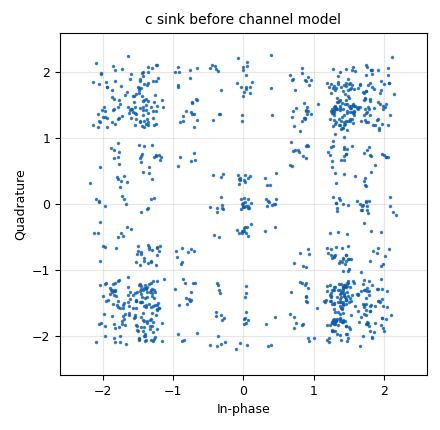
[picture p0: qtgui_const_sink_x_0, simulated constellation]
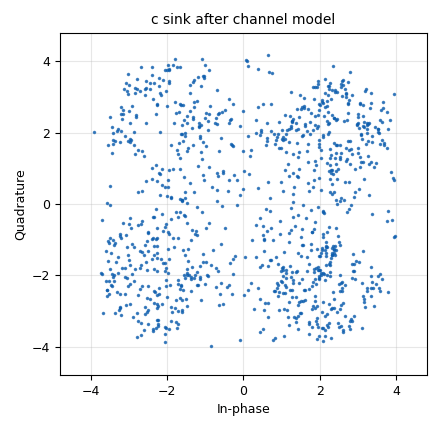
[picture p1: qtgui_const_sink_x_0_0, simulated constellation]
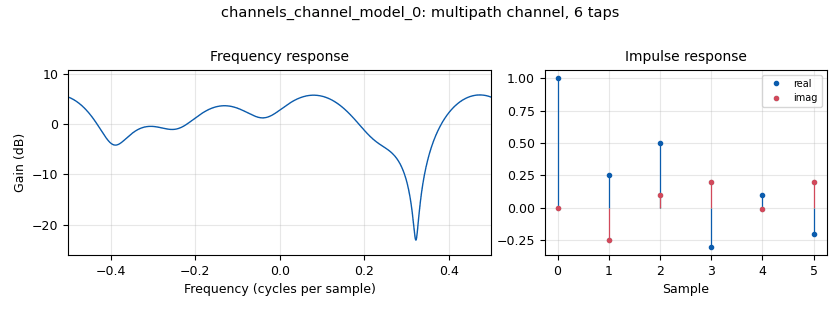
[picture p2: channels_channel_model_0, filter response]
options:
  parameters:
    author: mzemlo.pl@gmail.com
    copyright: mzemlo.pl@gmail.com
    generate_options: qt_gui
    id: qpsk_w_mod_01
    output_language: python
    title: QPSK with modulation 01
  states: {}

blocks:
- name: datarate
  id: variable
  parameters:
    value: '16000'
  states: {}
- name: freq_offset
  id: variable_qtgui_range
  parameters:
    gui_hint: 2,1,1,1
    label: '"freq offset"'
    start: '-0.1'
    step: '0.001'
    stop: '0.1'
    value: '0'
  states: {}
- name: noise_volt
  id: variable_qtgui_range
  parameters:
    gui_hint: 2,0,1,1
    label: '"noise volt"'
    start: '0'
    step: '0.01'
    stop: '1'
    value: '0.0001'
  states: {}
- name: samp_rate
  id: variable
  parameters:
    value: '32000'
  states: {}
- name: taps
  id: variable
  parameters:
    value: '[ 1.0 , 0.25 - 0.25j , 0.50 + 0.10j,-0.3 + 0.2j , 0.1-0.01j , -0.2 + 0.2j ]'
  states: {}
- name: time_offset
  id: variable_qtgui_range
  parameters:
    gui_hint: 3,1,1,1
    label: '"time offset"'
    start: '0.999'
    step: '0.0001'
    stop: '1.001'
    value: '1'
  states: {}
- name: var_const_0
  id: variable_constellation
  parameters:
    precision: '8'
    type: qpsk
  states: {}
- name: analog_random_source_x_0
  id: analog_random_source_x
  parameters:
    alias: '"rand src"'
    max: '256'
    min: '0'
    num_samps: '1000'
    repeat: 'True'
    type: byte
  states: {}
- name: blocks_throttle2_1
  id: blocks_throttle2
  parameters:
    samples_per_second: samp_rate
    type: complex
  states: {}
- name: channels_channel_model_0
  id: channels_channel_model
  parameters:
    epsilon: time_offset
    freq_offset: freq_offset
    noise_voltage: noise_volt
    seed: '0'
    taps: taps
  states: {}
- name: digital_constellation_modulator_0
  id: digital_constellation_modulator
  parameters:
    constellation: var_const_0
    differential: 'False'
    excess_bw: '0.35'
    samples_per_symbol: '4'
  states: {}
- name: qtgui_const_sink_x_0
  id: qtgui_const_sink_x
  parameters:
    autoscale: 'True'
    name: '"c sink before channel model"'
    size: '1024'
    type: complex
  states: {}
- name: qtgui_const_sink_x_0_0
  id: qtgui_const_sink_x
  parameters:
    autoscale: 'True'
    name: '"c sink after channel model"'
    size: '1024'
    type: complex
  states: {}

connections:
- [analog_random_source_x_0, '0', digital_constellation_modulator_0, '0']
- [blocks_throttle2_1, '0', channels_channel_model_0, '0']
- [blocks_throttle2_1, '0', qtgui_const_sink_x_0, '0']
- [channels_channel_model_0, '0', qtgui_const_sink_x_0_0, '0']
- [digital_constellation_modulator_0, '0', blocks_throttle2_1, '0']

metadata:
  file_format: 1
  grc_version: 3.10.9.2
